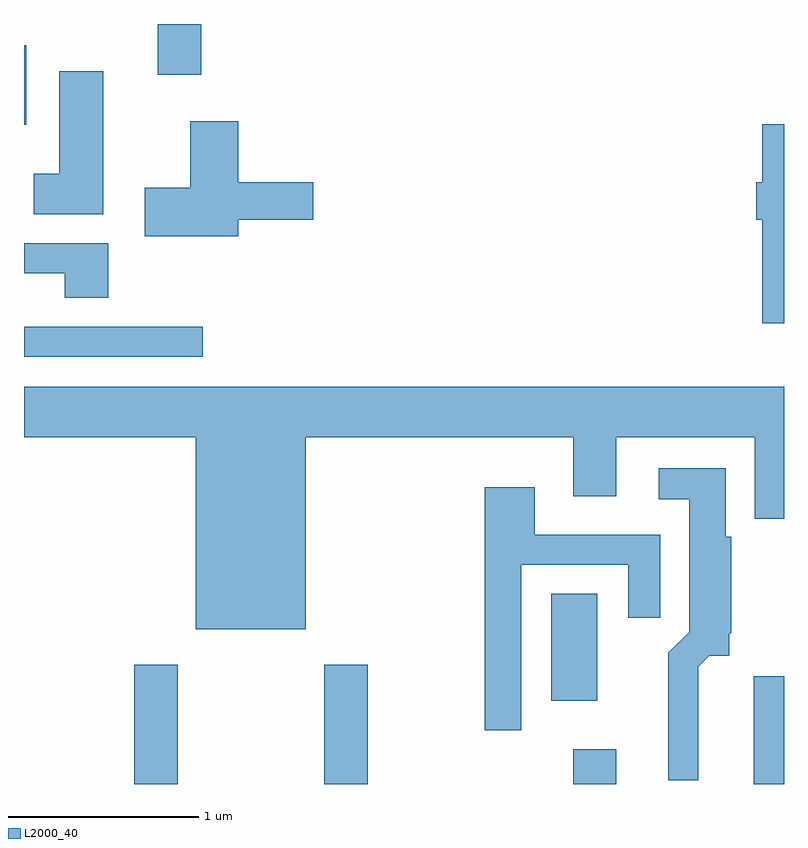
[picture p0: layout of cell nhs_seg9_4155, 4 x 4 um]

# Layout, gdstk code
import gdstk
lib = gdstk.Library(unit=1e-6, precision=1e-09)
def R(c, l, rs):  # rectangles x0, y0, x1, y1
    for r in rs: c.add(gdstk.rectangle(r[:2], r[2:], *l))
def P(c, l, *ps):  # polygons
    for p in ps: c.add(gdstk.Polygon(p, *l))
L2000_40 = (2000, 40)

nhs_seg9_4155 = lib.new_cell('nhs_seg9_4155')
R(nhs_seg9_4155, L2000_40, [(308.191,1994.432,308.419,1995.059), (309.191,1994.432,309.419,1995.059), (310.501,1994.432,310.729,1994.614), (311.451,1994.432,311.611,1994.999), (310.386,1994.871,310.629,1995.434), (307.611,1996.681,308.553,1996.839), (307.611,1997.901,307.624,1998.319), (308.316,1998.166,308.544,1998.432)])
P(nhs_seg9_4155, L2000_40, [(308.029,1998.184),(307.796,1998.184),(307.796,1997.644),(307.661,1997.644),(307.661,1997.431),(308.029,1997.431)],
  [(308.739,1997.401),(309.134,1997.401),(309.134,1997.599),(308.739,1997.599),(308.739,1997.919),(308.486,1997.919),(308.486,1997.569),(308.246,1997.569),(308.246,1997.316),(308.739,1997.316)],
  [(311.611,1997.904),(311.496,1997.904),(311.496,1997.599),(311.466,1997.599),(311.466,1997.401),(311.496,1997.401),(311.496,1996.856),(311.611,1996.856)],
  [(308.054,1997.279),(307.611,1997.279),(307.611,1997.121),(307.826,1997.121),(307.826,1996.991),(308.054,1996.991)],
  [(309.094,1996.256),(310.501,1996.256),(310.501,1995.946),(310.729,1995.946),(310.729,1996.256),(311.456,1996.256),(311.456,1995.828),(311.611,1995.828),(311.611,1996.524),(307.611,1996.524),(307.611,1996.256),(308.516,1996.256),(308.516,1995.246),(309.094,1995.246)],
  [(311.159,1995.049),(311.217,1995.106),(311.324,1995.106),(311.324,1995.219),(311.334,1995.229),(311.334,1995.734),(311.304,1995.734),(311.304,1996.094),(310.953,1996.094),(310.953,1995.931),(311.111,1995.931),(311.111,1995.232),(311.001,1995.122),(311.001,1994.453),(311.159,1994.453)],
  [(310.229,1995.586),(310.791,1995.586),(310.791,1995.308),(310.959,1995.308),(310.959,1995.744),(310.299,1995.744),(310.299,1995.994),(310.036,1995.994),(310.036,1994.716),(310.229,1994.716)])

lib.write_gds('nhs_seg9_4155.gds')
